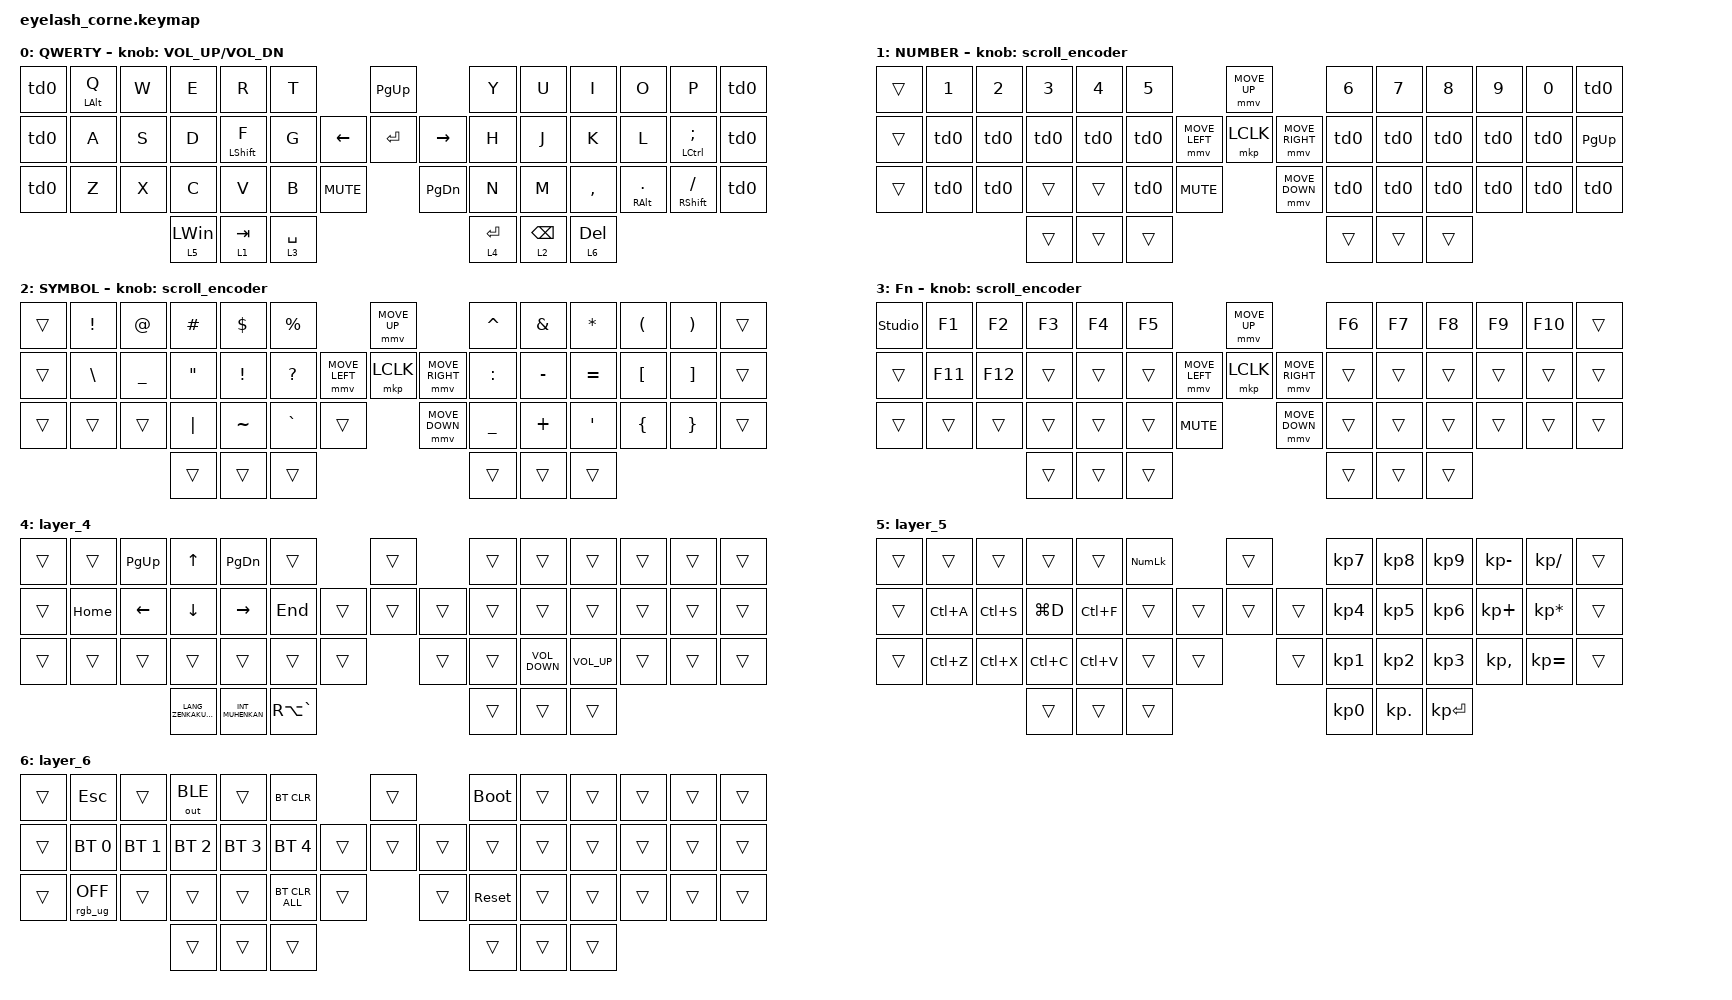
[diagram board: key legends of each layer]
#define ZMK_POINTING_DEFAULT_MOVE_VAL 1200  // 600
#define ZMK_POINTING_DEFAULT_SCRL_VAL 25   // 10

#include <input/processors.dtsi>
#include <zephyr/dt-bindings/input/input-event-codes.h>
#include <behaviors.dtsi>
#include <dt-bindings/zmk/bt.h>
#include <dt-bindings/zmk/keys.h>
#include <dt-bindings/zmk/outputs.h>
#include <dt-bindings/zmk/pointing.h>
#include <dt-bindings/zmk/rgb.h>

&mmv_input_listener { input-processors = <&zip_xy_scaler 2 1>; };

&msc_input_listener { input-processors = <&zip_scroll_scaler 2 1>; };

&msc {
    acceleration-exponent = <1>;      // 0
    time-to-max-speed-ms = <100>;       // 300
    delay-ms = <0>;                   // 0
};

&mmv {
    time-to-max-speed-ms = <500>;
    acceleration-exponent = <1>;
    trigger-period-ms = <16>;
};

&soft_off { hold-time-ms = <2000>; };

/ {
    behaviors {
        td0: td0 {
            compatible = "zmk,behavior-tap-dance";
            display-name = "Shift/Caps Lock Tap Dance";
            #binding-cells = <0>;
            bindings = <&kp LEFT_SHIFT>, <&kp CAPS>;
        };
    };

    rgb_encoder: rgb_encoder {
        compatible = "zmk,behavior-sensor-rotate";
        #sensor-binding-cells = <0>;
        bindings = <&rgb_ug RGB_BRI>, <&rgb_ug RGB_BRD>;
    };

    scroll_encoder: scroll_encoder {
        compatible = "zmk,behavior-sensor-rotate";
        #sensor-binding-cells = <0>;
        bindings = <&msc SCRL_DOWN>, <&msc SCRL_UP>;

        tap-ms = <100>;
    };

    combos {
        compatible = "zmk,combos";

        softoff {
            bindings = <&soft_off>;
            key-positions = <1 15 29>;
        };
    };

    keymap {
        compatible = "zmk,keymap";

        default_layer {
            display-name = "QWERTY";
            bindings = <
&td0  &mt LEFT_ALT Q  &kp W  &kp E           &kp R             &kp T                                &kp PAGE_UP               &kp Y        &kp U            &kp I         &kp O              &kp P                       &td0
&td0  &kp A           &kp S  &kp D           &mt LEFT_SHIFT F  &kp G                      &kp LEFT  &kp ENTER      &kp RIGHT  &kp H        &kp J            &kp K         &kp L              &mt LEFT_CONTROL SEMICOLON  &td0
&td0  &kp Z           &kp X  &kp C           &kp V             &kp B        &kp C_MUTE              &kp PAGE_DOWN             &kp N        &kp M            &kp COMMA     &mt RIGHT_ALT DOT  &mt RIGHT_SHIFT SLASH       &td0
                             &lt 5 LEFT_WIN  &lt 1 TAB         &lt 3 SPACE                                                    &lt 4 ENTER  &lt 2 BACKSPACE  &lt 6 DELETE
            >;

            sensor-bindings = <&inc_dec_kp C_VOLUME_UP C_VOL_DN>;
        };

        lower_layer {
            display-name = "NUMBER";
            bindings = <
&trans  &kp N1  &kp N2  &kp N3  &kp N4  &kp N5                                &mmv MOVE_UP                     &kp N6  &kp N7  &kp N8  &kp N9  &kp N0  &td0
&trans  &td0    &td0    &td0    &td0    &td0                  &mmv MOVE_LEFT  &mkp LCLK       &mmv MOVE_RIGHT  &td0    &td0    &td0    &td0    &td0    &kp PG_UP
&trans  &td0    &td0    &trans  &trans  &td0    &kp C_MUTE                    &mmv MOVE_DOWN                   &td0    &td0    &td0    &td0    &td0    &td0
                        &trans  &trans  &trans                                                                 &trans  &trans  &trans
            >;

            sensor-bindings = <&scroll_encoder>;
        };

        raise_layer {
            display-name = "SYMBOL";
            bindings = <
&trans  &kp EXCL       &kp AT          &kp HASH           &kp DLLR         &kp PRCNT                               &mmv MOVE_UP                     &kp CARET  &kp AMPS   &kp ASTRK         &kp LPAR          &kp RPAR           &trans
&trans  &kp BACKSLASH  &kp UNDERSCORE  &kp DOUBLE_QUOTES  &kp EXCLAMATION  &kp QUESTION            &mmv MOVE_LEFT  &mkp LCLK       &mmv MOVE_RIGHT  &kp COLON  &kp MINUS  &kp EQUAL         &kp LEFT_BRACKET  &kp RIGHT_BRACKET  &trans
&trans  &trans         &trans          &kp PIPE           &kp TILDE        &kp GRAVE     &trans                    &mmv MOVE_DOWN                   &kp UNDER  &kp PLUS   &kp SINGLE_QUOTE  &kp LEFT_BRACE    &kp RIGHT_BRACE    &trans
                                       &trans             &trans           &trans                                                                   &trans     &trans     &trans
            >;

            sensor-bindings = <&scroll_encoder>;
        };

        layer_3 {
            display-name = "Fn";
            bindings = <
&studio_unlock  &kp F1   &kp F2   &kp F3  &kp F4  &kp F5                                &mmv MOVE_UP                     &kp F6  &kp F7  &kp F8  &kp F9  &kp F10  &trans
&trans          &kp F11  &kp F12  &trans  &trans  &trans                &mmv MOVE_LEFT  &mkp LCLK       &mmv MOVE_RIGHT  &trans  &trans  &trans  &trans  &trans   &trans
&trans          &trans   &trans   &trans  &trans  &trans  &kp C_MUTE                    &mmv MOVE_DOWN                   &trans  &trans  &trans  &trans  &trans   &trans
                                  &trans  &trans  &trans                                                                 &trans  &trans  &trans
            >;

            sensor-bindings = <&scroll_encoder>;
        };

        layer_4 {
            bindings = <
&trans  &trans    &kp PAGE_UP     &kp UP_ARROW             &kp PAGE_DOWN     &trans                           &trans          &trans  &trans             &trans           &trans  &trans  &trans
&trans  &kp HOME  &kp LEFT_ARROW  &kp DOWN_ARROW           &kp RIGHT         &kp END                  &trans  &trans  &trans  &trans  &trans             &trans           &trans  &trans  &trans
&trans  &trans    &trans          &trans                   &trans            &trans         &trans            &trans          &trans  &kp C_VOLUME_DOWN  &kp C_VOLUME_UP  &trans  &trans  &trans
                                  &kp LANG_ZENKAKUHANKAKU  &kp INT_MUHENKAN  &kp RA(GRAVE)                                    &trans  &trans             &trans
            >;
        };

        layer_5 {
            bindings = <
&trans  &trans     &trans     &trans     &trans     &kp KP_NUMLOCK                    &trans          &kp KP_NUMBER_7  &kp KP_NUMBER_8  &kp KP_NUMBER_9  &kp KP_MINUS  &kp KP_SLASH     &trans
&trans  &kp LC(A)  &kp LC(S)  &kp LG(D)  &kp LC(F)  &trans                    &trans  &trans  &trans  &kp KP_NUMBER_4  &kp KP_NUMBER_5  &kp KP_NUMBER_6  &kp KP_PLUS   &kp KP_ASTERISK  &trans
&trans  &kp LC(Z)  &kp LC(X)  &kp LC(C)  &kp LC(V)  &trans          &trans            &trans          &kp KP_NUMBER_1  &kp KP_NUMBER_2  &kp KP_NUMBER_3  &kp KP_COMMA  &kp KP_EQUAL     &trans
                              &trans     &trans     &trans                                            &kp KP_NUMBER_0  &kp KP_DOT       &kp KP_ENTER
            >;
        };

        layer_6 {
            bindings = <
&trans  &kp ESCAPE       &trans        &out OUT_BLE  &trans        &bt BT_CLR                        &trans          &bootloader  &trans  &trans  &trans  &trans  &trans
&trans  &bt BT_SEL 0     &bt BT_SEL 1  &bt BT_SEL 2  &bt BT_SEL 3  &bt BT_SEL 4              &trans  &trans  &trans  &trans       &trans  &trans  &trans  &trans  &trans
&trans  &rgb_ug RGB_OFF  &trans        &trans        &trans        &bt BT_CLR_ALL  &trans            &trans          &sys_reset   &trans  &trans  &trans  &trans  &trans
                                       &trans        &trans        &trans                                            &trans       &trans  &trans
            >;
        };
    };
};
